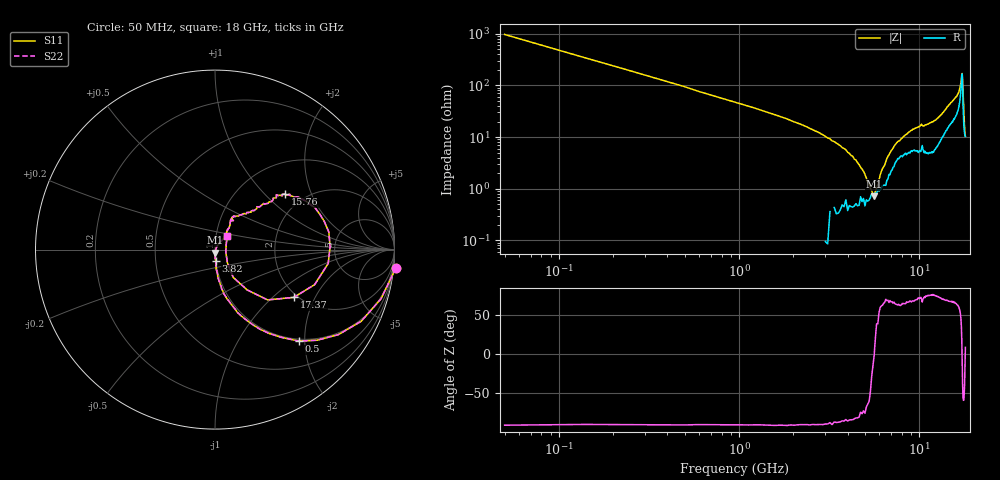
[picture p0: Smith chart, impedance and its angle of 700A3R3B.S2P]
!  American Technical Ceramics  Date:  3/13/98
!  One Norden Lane
!  Huntington Station,  NY.  11746-2102
!  Tel:  (516) 547-5700  Fax:  (516) 547-5748
!  Part Number  700A3R3B
!  Description: Porcelain, High Q, Low ESR
!  Application: Bypass, Coupling, Timing, Feedback
!  Tuning, Impedance Match, Blocking
# GHZ S DB R 50
! Freq  |S11|  S11 Ph  |S21|  S21 Ph  |S12|  S12 Ph  |S22|  S22 Ph
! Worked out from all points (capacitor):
!   201 points, 50 MHz to 18 GHz, reference 50 ohm
!   read as one part in series: C = 3.32 pF near 140 MHz
!   lowest |Z| = 709 mohm at 5.61 GHz (marker M1)
!   series resonance near 5.618 GHz, so ESL is about 240 pH
!   S11 on the Smith chart (normalised r, x): 50 MHz: -2, -19; 500 MHz: 0.96, -1.87; 3.82 GHz: 1.00, -0.13; 15.76 GHz: 1.61, +1.33; 17.37 GHz: 1.91, -1.38; 18 GHz: 1.14, +0.17
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0.05  0.11 -5.8  -19.63 85.2  -19.63 85.2  0.11 -5.8
0.14  -0.31 -16.5  -11.01 73.5  -11.01 73.5  -0.31 -16.5
0.23  -0.85 -26.2  -7.25 64.1  -7.25 64.1  -0.85 -26.2
0.5  -3.21 -47.5  -2.75 43.3  -2.75 43.3  -3.21 -47.5
1.13  -8.63 -70.5  -0.68 21.4  -0.68 21.4  -8.63 -70.5
3.1  -20.10 -86.8  -0.09 5.3  -0.09 5.3  -20.10 -86.8
3.82  -23.76 -86.3  -0.09 3.1  -0.09 3.1  -23.76 -86.3
5.61  -35.65 -85.3  -0.11 -0.9  -0.11 -0.9  -35.65 -85.3
6.06  -47.56 -25.2  -0.13 -1.9  -0.13 -1.9  -47.56 -25.2
6.6  -33.07 58.7  -0.16 -2.9  -0.16 -2.9  -33.07 58.7
6.96  -27.79 56.1  -0.20 -3.5  -0.20 -3.5  -27.79 56.1
7.59  -22.54 51.7  -0.30 -4.5  -0.30 -4.5  -22.54 51.7
9.03  -16.74 57.3  -0.40 -5.8  -0.40 -5.8  -16.74 57.3
12.08  -13.38 59.6  -0.40 -9.7  -0.40 -9.7  -13.38 59.6
15.04  -7.28 41.5  -1.29 -18.7  -1.29 -18.7  -7.28 41.5
15.76  -6.03 38.3  -1.70 -20.7  -1.70 -20.7  -6.03 38.3
16.92  -4.03 14.4  -4.30 -30.5  -4.30 -30.5  -4.03 14.4
17.19  -3.94 -7.0  -8.31 -21.8  -8.31 -21.8  -3.94 -7.0
17.37  -5.79 -31.2  -7.99 14.9  -7.99 14.9  -5.79 -31.2
17.55  -10.83 -51.4  -3.72 20.9  -3.72 20.9  -10.83 -51.4
17.82  -24.24 -12.2  -1.45 9.2  -1.45 9.2  -24.24 -12.2
18  -19.86 47.0  -1.07 3.2  -1.07 3.2  -19.86 47.0
